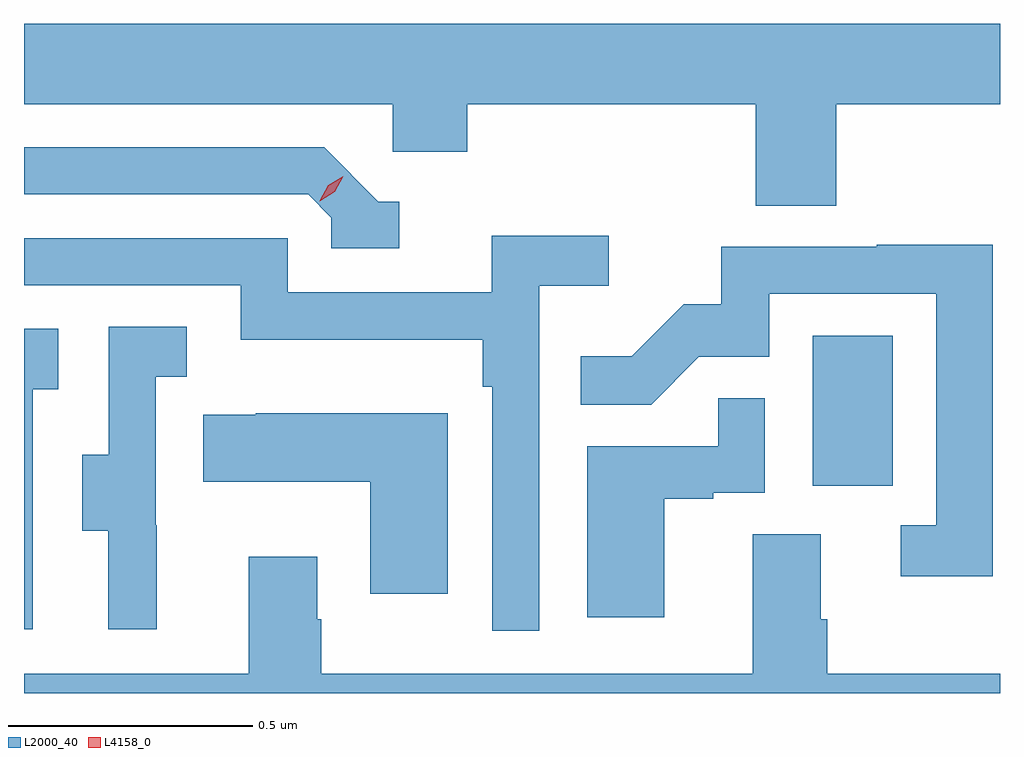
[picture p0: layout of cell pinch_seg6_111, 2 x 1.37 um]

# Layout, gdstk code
import gdstk
lib = gdstk.Library(unit=1e-6, precision=1e-09)
def R(c, l, rs):  # rectangles x0, y0, x1, y1
    for r in rs: c.add(gdstk.rectangle(r[:2], r[2:], *l))
def P(c, l, *ps):  # polygons
    for p in ps: c.add(gdstk.Polygon(p, *l))
L2000_40 = (2000, 40)
L4158_0 = (4158, 0)

pinch_seg6_111 = lib.new_cell('pinch_seg6_111')
R(pinch_seg6_111, L2000_40, [(891.746,918.582,891.91,918.889)])
P(pinch_seg6_111, L2000_40, [(890.13,919.364),(890.886,919.364),(890.886,919.266),(891.038,919.266),(891.038,919.364),(891.629,919.364),(891.629,919.156),(891.794,919.156),(891.794,919.364),(892.13,919.364),(892.13,919.528),(890.13,919.528)],
  [(890.899,919.164),(890.856,919.164),(890.745,919.275),(890.13,919.275),(890.13,919.179),(890.712,919.179),(890.76,919.131),(890.76,919.068),(890.899,919.068)],
  [(891.186,918.992),(891.328,918.992),(891.328,919.094),(891.089,919.094),(891.089,918.978),(890.67,918.978),(890.67,919.089),(890.13,919.089),(890.13,918.993),(890.574,918.993),(890.574,918.881),(891.07,918.881),(891.07,918.785),(891.09,918.785),(891.09,918.285),(891.186,918.285)],
  [(892.115,919.076),(891.877,919.076),(891.877,919.071),(891.559,919.071),(891.559,918.954),(891.482,918.954),(891.375,918.847),(891.271,918.847),(891.271,918.748),(891.415,918.748),(891.513,918.846),(891.657,918.846),(891.657,918.975),(891.999,918.975),(891.999,918.501),(891.927,918.501),(891.927,918.396),(892.115,918.396)],
  [(890.402,918.501),(890.4,918.501),(890.4,918.805),(890.464,918.805),(890.464,918.908),(890.304,918.908),(890.304,918.645),(890.249,918.645),(890.249,918.49),(890.303,918.49),(890.303,918.288),(890.402,918.288)],
  [(890.148,918.779),(890.2,918.779),(890.2,918.903),(890.13,918.903),(890.13,918.288),(890.148,918.288)],
  [(891.442,918.555),(891.542,918.555),(891.542,918.567),(891.648,918.567),(891.648,918.761),(891.553,918.761),(891.553,918.663),(891.284,918.663),(891.284,918.312),(891.442,918.312)],
  [(890.998,918.73),(890.605,918.73),(890.605,918.727),(890.497,918.727),(890.497,918.59),(890.84,918.59),(890.84,918.36),(890.998,918.36)],
  [(890.591,918.436),(890.591,918.196),(890.13,918.196),(890.13,918.157),(892.13,918.157),(892.13,918.196),(891.776,918.196),(891.776,918.308),(891.763,918.308),(891.763,918.482),(891.623,918.482),(891.623,918.196),(890.739,918.196),(890.739,918.308),(890.731,918.308),(890.731,918.436)])
P(pinch_seg6_111, L4158_0, [(890.736,919.165),(890.736,919.166),(890.753,919.198),(890.784,919.216),(890.784,919.216),(890.784,919.216),(890.767,919.184),(890.736,919.165)])

lib.write_gds('pinch_seg6_111.gds')
